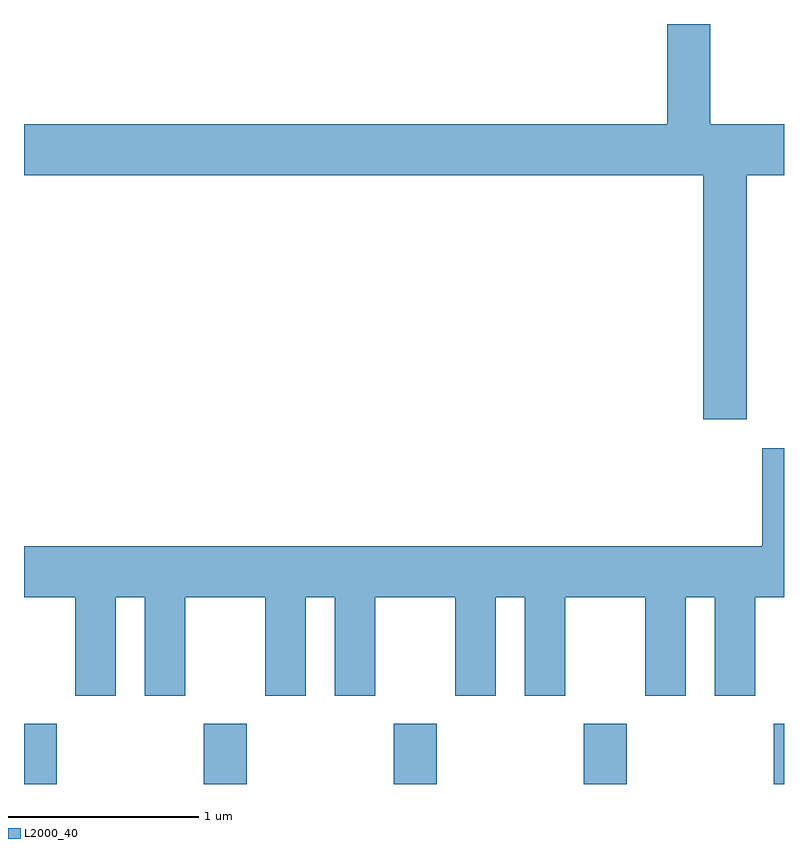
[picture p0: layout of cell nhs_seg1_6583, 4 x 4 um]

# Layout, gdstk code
import gdstk
lib = gdstk.Library(unit=1e-6, precision=1e-09)
def R(c, l, rs):  # rectangles x0, y0, x1, y1
    for r in rs: c.add(gdstk.rectangle(r[:2], r[2:], *l))
def A(c, l, x, y, w, h, nx, ny, dx, dy):  # array of equal rectangles
    R(c, l, [(x+i*dx, y+j*dy, x+i*dx+w, y+j*dy+h) for i in range(nx) for j in range(ny)])
def P(c, l, *ps):  # polygons
    for p in ps: c.add(gdstk.Polygon(p, *l))
L2000_40 = (2000, 40)

nhs_seg1_6583 = lib.new_cell('nhs_seg1_6583')
A(nhs_seg1_6583, L2000_40, 384.556, 889.712, 0.228, 0.317, 3, 1, 1, 0)
R(nhs_seg1_6583, L2000_40, [(383.611,889.712,383.784,890.029), (387.556,889.712,387.611,890.029)])
P(nhs_seg1_6583, L2000_40, [(387.186,891.631),(387.414,891.631),(387.414,892.916),(387.611,892.916),(387.611,893.184),(387.224,893.184),(387.224,893.712),(386.996,893.712),(386.996,893.184),(383.611,893.184),(383.611,892.916),(387.186,892.916)],
  [(384.094,890.696),(384.246,890.696),(384.246,890.176),(384.459,890.176),(384.459,890.696),(384.881,890.696),(384.881,890.176),(385.094,890.176),(385.094,890.696),(385.246,890.696),(385.246,890.176),(385.459,890.176),(385.459,890.696),(385.881,890.696),(385.881,890.176),(386.094,890.176),(386.094,890.696),(386.246,890.696),(386.246,890.176),(386.459,890.176),(386.459,890.696),(386.881,890.696),(386.881,890.176),(387.094,890.176),(387.094,890.696),(387.246,890.696),(387.246,890.176),(387.459,890.176),(387.459,890.696),(387.611,890.696),(387.611,891.479),(387.496,891.479),(387.496,890.964),(383.611,890.964),(383.611,890.696),(383.881,890.696),(383.881,890.176),(384.094,890.176)])

lib.write_gds('nhs_seg1_6583.gds')
